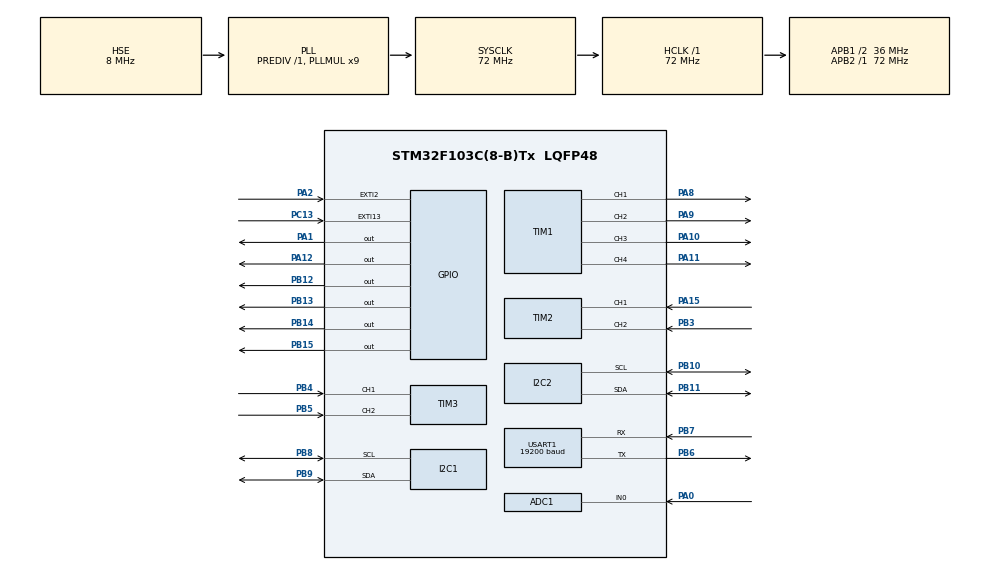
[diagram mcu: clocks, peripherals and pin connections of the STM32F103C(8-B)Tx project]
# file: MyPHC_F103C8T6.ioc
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ADC1.Channel-1\#ChannelRegularConversion=ADC_CHANNEL_0
ADC1.ContinuousConvMode=ENABLE
ADC1.EnableAnalogWatchDog=false
ADC1.NbrOfConversion=1
ADC1.NbrOfConversionFlag=1
ADC1.Rank-1\#ChannelRegularConversion=1
ADC1.SamplingTime-1\#ChannelRegularConversion=ADC_SAMPLETIME_239CYCLES_5
ADC1.master=1
ARM.CMSIS.5.8.0.CMSISJjCORE=true
Dma.ADC1.0.Direction=DMA_PERIPH_TO_MEMORY
Dma.ADC1.0.Instance=DMA1_Channel1
Dma.ADC1.0.MemDataAlignment=DMA_MDATAALIGN_HALFWORD
Dma.ADC1.0.MemInc=DMA_MINC_ENABLE
Dma.ADC1.0.Mode=DMA_CIRCULAR
Dma.ADC1.0.PeriphDataAlignment=DMA_PDATAALIGN_HALFWORD
Dma.ADC1.0.PeriphInc=DMA_PINC_DISABLE
Dma.ADC1.0.Priority=DMA_PRIORITY_LOW
Dma.Request0=ADC1
Dma.Request1=USART1_RX
Dma.Request2=USART1_TX
Dma.USART1_RX.1.Direction=DMA_PERIPH_TO_MEMORY
Dma.USART1_RX.1.Instance=DMA1_Channel5
Dma.USART1_RX.1.MemDataAlignment=DMA_MDATAALIGN_BYTE
Dma.USART1_RX.1.MemInc=DMA_MINC_ENABLE
Dma.USART1_RX.1.Mode=DMA_NORMAL
Dma.USART1_RX.1.PeriphDataAlignment=DMA_PDATAALIGN_BYTE
Dma.USART1_RX.1.PeriphInc=DMA_PINC_DISABLE
Dma.USART1_RX.1.Priority=DMA_PRIORITY_HIGH
Dma.USART1_TX.2.Direction=DMA_MEMORY_TO_PERIPH
Dma.USART1_TX.2.Instance=DMA1_Channel4
Dma.USART1_TX.2.MemDataAlignment=DMA_MDATAALIGN_BYTE
Dma.USART1_TX.2.MemInc=DMA_MINC_ENABLE
Dma.USART1_TX.2.Mode=DMA_NORMAL
Dma.USART1_TX.2.PeriphDataAlignment=DMA_PDATAALIGN_BYTE
Dma.USART1_TX.2.PeriphInc=DMA_PINC_DISABLE
Dma.USART1_TX.2.Priority=DMA_PRIORITY_HIGH
FREERTOS.Tasks01=DefaultTask,24,128,StartDefaultTask,Default,NULL,Dynamic,NULL,NULL;BalanceTask,40,128,StartBalanceTask,Default,NULL,Dynamic,NULL,NULL;MpuCalcTask,40,200,StartMpuCalcTask,Default,NULL,Dynamic,NULL,NULL;CommandTask,39,128,StartCommandTask,Default,NULL,Dynamic,NULL,NULL
Mcu.Family=STM32F1
Mcu.Name=STM32F103C(8-B)Tx
Mcu.Package=LQFP48
NVIC.DMA1_Channel4_IRQn=true\:5\:0\:false\:false\:true\:true\:false\:true\:true
NVIC.DMA1_Channel5_IRQn=true\:5\:0\:false\:false\:true\:true\:false\:true\:true
NVIC.PriorityGroup=NVIC_PRIORITYGROUP_4
NVIC.TIM2_IRQn=true\:5\:0\:false\:false\:true\:true\:true\:true\:true
NVIC.TIM3_IRQn=true\:5\:0\:false\:false\:true\:true\:true\:true\:true
NVIC.TIM4_IRQn=true\:15\:0\:false\:false\:true\:false\:true\:true\:true
NVIC.TimeBase=TIM4_IRQn
NVIC.TimeBaseIP=TIM4
NVIC.USART1_IRQn=true\:5\:0\:false\:false\:true\:true\:true\:true\:true
PA0-WKUP.Signal=ADCx_IN0
PA1.Signal=GPIO_Output
PA10.Signal=S_TIM1_CH3
PA11.Signal=S_TIM1_CH4
PA12.Signal=GPIO_Output
PA13.Mode=Serial_Wire
PA13.Signal=SYS_JTMS-SWDIO
PA14.Mode=Serial_Wire
PA14.Signal=SYS_JTCK-SWCLK
PA15.Signal=S_TIM2_CH1_ETR
PA2.Signal=GPXTI2
PA8.Signal=S_TIM1_CH1
PA9.Signal=S_TIM1_CH2
PB10.GPIO_Mode=GPIO_MODE_AF_OD
PB10.GPIO_Speed=GPIO_SPEED_FREQ_HIGH
PB10.Mode=I2C
PB10.Signal=I2C2_SCL
PB11.GPIO_Mode=GPIO_MODE_AF_OD
PB11.GPIO_Speed=GPIO_SPEED_FREQ_HIGH
PB11.Mode=I2C
PB11.Signal=I2C2_SDA
PB12.GPIO_Speed=GPIO_SPEED_FREQ_HIGH
PB12.PinState=GPIO_PIN_SET
PB12.Signal=GPIO_Output
PB13.GPIO_Speed=GPIO_SPEED_FREQ_HIGH
PB13.PinState=GPIO_PIN_SET
PB13.Signal=GPIO_Output
PB14.GPIO_Speed=GPIO_SPEED_FREQ_HIGH
PB14.PinState=GPIO_PIN_SET
PB14.Signal=GPIO_Output
PB15.GPIO_Speed=GPIO_SPEED_FREQ_HIGH
PB15.PinState=GPIO_PIN_SET
PB15.Signal=GPIO_Output
PB3.Signal=S_TIM2_CH2
PB4.Signal=S_TIM3_CH1
PB5.Signal=S_TIM3_CH2
PB6.Mode=Asynchronous
PB6.Signal=USART1_TX
PB7.Mode=Asynchronous
PB7.Signal=USART1_RX
PB8.Mode=I2C
PB8.Signal=I2C1_SCL
PB9.Mode=I2C
PB9.Signal=I2C1_SDA
PC13-TAMPER-RTC.Signal=GPXTI13
PD0-OSC_IN.Mode=HSE-External-Oscillator
PD0-OSC_IN.Signal=RCC_OSC_IN
PD1-OSC_OUT.Mode=HSE-External-Oscillator
PD1-OSC_OUT.Signal=RCC_OSC_OUT
ProjectManager.HeapSize=0x200
ProjectManager.StackSize=0x400
ProjectManager.TargetToolchain=Makefile
RCC.ADCPresc=RCC_ADCPCLK2_DIV6
RCC.AHBFreq_Value=72000000
RCC.APB1CLKDivider=RCC_HCLK_DIV2
RCC.APB1Freq_Value=36000000
RCC.APB1TimFreq_Value=72000000
RCC.APB2Freq_Value=72000000
RCC.APB2TimFreq_Value=72000000
RCC.HCLKFreq_Value=72000000
RCC.PLLMUL=RCC_PLL_MUL9
RCC.PLLSourceVirtual=RCC_PLLSOURCE_HSE
RCC.SYSCLKFreq_VALUE=72000000
RCC.SYSCLKSource=RCC_SYSCLKSOURCE_PLLCLK
RCC.USBFreq_Value=72000000
SH.ADCx_IN0.0=ADC1_IN0,IN0
SH.S_TIM1_CH1.0=TIM1_CH1,PWM Generation1 CH1
SH.S_TIM1_CH2.0=TIM1_CH2,PWM Generation2 CH2
SH.S_TIM1_CH3.0=TIM1_CH3,PWM Generation3 CH3
SH.S_TIM1_CH4.0=TIM1_CH4,PWM Generation4 CH4
SH.S_TIM2_CH1_ETR.0=TIM2_CH1,Encoder_Interface
SH.S_TIM2_CH2.0=TIM2_CH2,Encoder_Interface
SH.S_TIM3_CH1.0=TIM3_CH1,Encoder_Interface
SH.S_TIM3_CH2.0=TIM3_CH2,Encoder_Interface
TIM1.Channel-PWM\ Generation1\ CH1=TIM_CHANNEL_1
TIM1.Channel-PWM\ Generation2\ CH2=TIM_CHANNEL_2
TIM1.Channel-PWM\ Generation3\ CH3=TIM_CHANNEL_3
TIM1.Channel-PWM\ Generation4\ CH4=TIM_CHANNEL_4
TIM2.AutoReloadPreload=TIM_AUTORELOAD_PRELOAD_ENABLE
TIM2.EncoderMode=TIM_ENCODERMODE_TI12
TIM2.IC1Filter=10
TIM2.IC2Filter=10
TIM3.AutoReloadPreload=TIM_AUTORELOAD_PRELOAD_ENABLE
TIM3.EncoderMode=TIM_ENCODERMODE_TI12
TIM3.IC1Filter=10
TIM3.IC2Filter=10
USART1.BaudRate=19200
USART1.VirtualMode=VM_ASYNC
VP_ARM.CMSIS_VS_CMSISJjCORE_5.5.0_5.8.0.Mode=CMSISJjCORE
VP_CRC_VS_CRC.Mode=CRC_Activate
VP_FREERTOS_VS_CMSIS_V2.Mode=CMSIS_V2
VP_SYS_VS_tim4.Mode=TIM4
VP_TIM1_VS_ClockSourceINT.Mode=Internal
board=custom

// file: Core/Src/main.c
/* USER CODE BEGIN Header */
/**
  ******************************************************************************
  * @file           : main.c
  * @brief          : Main program body
  ******************************************************************************
  * @attention
  *
  * Copyright (c) 2022 STMicroelectronics.
  * All rights reserved.
  *
  * This software is licensed under terms that can be found in the LICENSE file
  * in the root directory of this software component.
  * If no LICENSE file comes with this software, it is provided AS-IS.
  *
  ******************************************************************************
  */
/* USER CODE END Header */
#include "main.h"
#include "cmsis_os.h"
#include "adc.h"
#include "crc.h"
#include "dma.h"
#include "i2c.h"
#include "tim.h"
#include "usart.h"
#include "gpio.h"

/* USER CODE BEGIN Includes */
#include "robot.h"
/* USER CODE END Includes */

void SystemClock_Config(void);
void MX_FREERTOS_Init(void);

int main(void)
{

  /* MCU Configuration--------------------------------------------------------*/

  /* Reset of all peripherals, Initializes the Flash interface and the Systick. */
  HAL_Init();

  /* Configure the system clock */
  SystemClock_Config();

  /* Initialize all configured peripherals */
  MX_GPIO_Init();
  MX_CRC_Init();
  MX_I2C1_Init();
  MX_TIM1_Init();
  MX_TIM2_Init();
  MX_TIM3_Init();
  MX_USART1_UART_Init();
  MX_DMA_Init();
  MX_I2C2_Init();
  MX_ADC1_Init();
  /* USER CODE BEGIN 2 */
  HAL_TIM_Encoder_Start(&htim2,TIM_CHANNEL_1);
  HAL_TIM_Encoder_Start(&htim2,TIM_CHANNEL_2);
  HAL_TIM_Encoder_Start(&htim3,TIM_CHANNEL_1);
  HAL_TIM_Encoder_Start(&htim3,TIM_CHANNEL_2);
  HAL_TIM_Base_Start_IT(&htim2);
  HAL_TIM_Base_Start_IT(&htim3);
  HAL_TIM_PWM_Start(&htim1,TIM_CHANNEL_1);
  HAL_TIM_PWM_Start(&htim1,TIM_CHANNEL_2);
  // HAL_TIM_PWM_Start(&htim1,TIM_CHANNEL_3);
  // HAL_TIM_PWM_Start(&htim1,TIM_CHANNEL_4);
  robot_init();
  /* USER CODE END 2 */

  /* Init scheduler */
  osKernelInitialize();  /* Call init function for freertos objects (in freertos.c) */
  MX_FREERTOS_Init();

  /* Start scheduler */
  osKernelStart();

  /* We should never get here as control is now taken by the scheduler */
  /* Infinite loop */
  while (1)
  {

  }
}

void SystemClock_Config(void)
{
  RCC_OscInitTypeDef RCC_OscInitStruct = {0};
  RCC_ClkInitTypeDef RCC_ClkInitStruct = {0};
  RCC_PeriphCLKInitTypeDef PeriphClkInit = {0};

  /** Initializes the RCC Oscillators according to the specified parameters
  * in the RCC_OscInitTypeDef structure.
  */
  RCC_OscInitStruct.OscillatorType = RCC_OSCILLATORTYPE_HSE;
  RCC_OscInitStruct.HSEState = RCC_HSE_ON;
  RCC_OscInitStruct.HSEPredivValue = RCC_HSE_PREDIV_DIV1;
  RCC_OscInitStruct.HSIState = RCC_HSI_ON;
  RCC_OscInitStruct.PLL.PLLState = RCC_PLL_ON;
  RCC_OscInitStruct.PLL.PLLSource = RCC_PLLSOURCE_HSE;
  RCC_OscInitStruct.PLL.PLLMUL = RCC_PLL_MUL9;
  if (HAL_RCC_OscConfig(&RCC_OscInitStruct) != HAL_OK)
  {
    Error_Handler();
  }

  /** Initializes the CPU, AHB and APB buses clocks
  */
  RCC_ClkInitStruct.ClockType = RCC_CLOCKTYPE_HCLK|RCC_CLOCKTYPE_SYSCLK
                              |RCC_CLOCKTYPE_PCLK1|RCC_CLOCKTYPE_PCLK2;
  RCC_ClkInitStruct.SYSCLKSource = RCC_SYSCLKSOURCE_PLLCLK;
  RCC_ClkInitStruct.AHBCLKDivider = RCC_SYSCLK_DIV1;
  RCC_ClkInitStruct.APB1CLKDivider = RCC_HCLK_DIV2;
  RCC_ClkInitStruct.APB2CLKDivider = RCC_HCLK_DIV1;

  if (HAL_RCC_ClockConfig(&RCC_ClkInitStruct, FLASH_LATENCY_2) != HAL_OK)
  {
    Error_Handler();
  }
  PeriphClkInit.PeriphClockSelection = RCC_PERIPHCLK_ADC;
  PeriphClkInit.AdcClockSelection = RCC_ADCPCLK2_DIV6;
  if (HAL_RCCEx_PeriphCLKConfig(&PeriphClkInit) != HAL_OK)
  {
    Error_Handler();
  }
}

void HAL_TIM_PeriodElapsedCallback(TIM_HandleTypeDef *htim)
{
  /* USER CODE BEGIN Callback 0 */
  if(htim->Instance == TIM2)
  {
    Robot_Encoder(1);
  }
  else if (htim->Instance == TIM3)
  {
    Robot_Encoder(0);
  }

  /* USER CODE END Callback 0 */
  if (htim->Instance == TIM4) {
    HAL_IncTick();
  }
}

void Error_Handler(void)
{
  __disable_irq();
  while (1)
  {
  }
}

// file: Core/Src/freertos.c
/* USER CODE BEGIN Header */
/**
 ******************************************************************************
 * File Name          : freertos.c
 * Description        : Code for freertos applications
 ******************************************************************************
 * @attention
 *
 * Copyright (c) 2022 STMicroelectronics.
 * All rights reserved.
 *
 * This software is licensed under terms that can be found in the LICENSE file
 * in the root directory of this software component.
 * If no LICENSE file comes with this software, it is provided AS-IS.
 *
 ******************************************************************************
 */
/* USER CODE END Header */

#include "FreeRTOS.h"
#include "task.h"
#include "main.h"
#include "cmsis_os.h"

/* USER CODE BEGIN Includes */
#include "oledapp.h"
#include "MPU6050.h"
#include "robot.h"
#include "motor.h"
/* USER CODE END Includes */

/* Definitions for DefaultTask */
osThreadId_t DefaultTaskHandle;
const osThreadAttr_t DefaultTask_attributes = {
  .name = "DefaultTask",
  .stack_size = 128 * 4,
  .priority = (osPriority_t) osPriorityNormal,
};
/* Definitions for BalanceTask */
osThreadId_t BalanceTaskHandle;
const osThreadAttr_t BalanceTask_attributes = {
  .name = "BalanceTask",
  .stack_size = 128 * 4,
  .priority = (osPriority_t) osPriorityHigh,
};
/* Definitions for MpuCalcTask */
osThreadId_t MpuCalcTaskHandle;
const osThreadAttr_t MpuCalcTask_attributes = {
  .name = "MpuCalcTask",
  .stack_size = 200 * 4,
  .priority = (osPriority_t) osPriorityHigh,
};
/* Definitions for CommandTask */
osThreadId_t CommandTaskHandle;
const osThreadAttr_t CommandTask_attributes = {
  .name = "CommandTask",
  .stack_size = 128 * 4,
  .priority = (osPriority_t) osPriorityAboveNormal7,
};

/* USER CODE BEGIN FunctionPrototypes */
extern robot PHC;
/* USER CODE END FunctionPrototypes */

void StartDefaultTask(void *argument);
void StartBalanceTask(void *argument);
void StartMpuCalcTask(void *argument);
void StartCommandTask(void *argument);

void MX_FREERTOS_Init(void); /* (MISRA C 2004 rule 8.1) */

void MX_FREERTOS_Init(void) {

  /* Create the thread(s) */
  /* creation of DefaultTask */
  DefaultTaskHandle = osThreadNew(StartDefaultTask, NULL, &DefaultTask_attributes);

  /* creation of BalanceTask */
  BalanceTaskHandle = osThreadNew(StartBalanceTask, NULL, &BalanceTask_attributes);

  /* creation of MpuCalcTask */
  MpuCalcTaskHandle = osThreadNew(StartMpuCalcTask, NULL, &MpuCalcTask_attributes);

  /* creation of CommandTask */
  CommandTaskHandle = osThreadNew(StartCommandTask, NULL, &CommandTask_attributes);

}

void StartDefaultTask(void *argument)
{
  /* USER CODE BEGIN StartDefaultTask */
  portTickType currentTimeDefault;
  currentTimeDefault = xTaskGetTickCount();
  /* Infinite loop */
  for (;;)
  {
    OledAppLoop(&PHC.oled);
    vTaskDelayUntil(&currentTimeDefault, 100);
  }
  /* USER CODE END StartDefaultTask */
}

void StartBalanceTask(void *argument)
{
  /* USER CODE BEGIN StartBalanceTask */
  portTickType currentTimeBalance;
  currentTimeBalance = xTaskGetTickCount();
  /* Infinite loop */
  for (;;)
  {
    motor_getvelocity(&PHC.motor_left);
    motor_getvelocity(&PHC.motor_right);
    default_loop();
    vTaskDelayUntil(&currentTimeBalance, 5);
  }
  /* USER CODE END StartBalanceTask */
}

void StartMpuCalcTask(void *argument)
{
  /* USER CODE BEGIN StartMpuCalcTask */
  portTickType currentTimempu;
  currentTimempu = xTaskGetTickCount();
  /* Infinite loop */
  for (;;)
  {
    MPU6050_Update(&PHC.imu);
    vTaskDelayUntil(&currentTimempu, 5);
  }
  /* USER CODE END StartMpuCalcTask */
}

void StartCommandTask(void *argument)
{
  /* USER CODE BEGIN StartCommandTask */
  portTickType currentTimecommand;
  currentTimecommand = xTaskGetTickCount();
  /* Infinite loop */
  for (;;)
  {
    Robot_Command();
    vTaskDelayUntil(&currentTimecommand, 5);
  }
  /* USER CODE END StartCommandTask */
}
